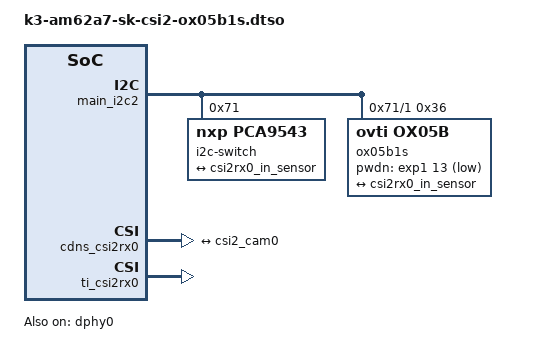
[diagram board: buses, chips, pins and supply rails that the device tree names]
// SPDX-License-Identifier: GPL-2.0
/*
 * OX05B1S Camera Module
 * Copyright (C) 2023-2024 Texas Instruments Incorporated - https://www.ti.com/
 */

/dts-v1/;
/plugin/;

#include <dt-bindings/gpio/gpio.h>

&{/} {
	clk_ox05b1s_fixed: ox05b1s-xclk {
		compatible = "fixed-clock";
		#clock-cells = <0>;
		clock-frequency = <24000000>;
	};
};

&main_i2c2 {
	#address-cells = <1>;
	#size-cells = <0>;
	status = "okay";

	i2c-switch@71 {
		compatible = "nxp,pca9543";
		#address-cells = <1>;
		#size-cells = <0>;
		reg = <0x71>;

		/* CAM port */
		i2c@1 {
			#address-cells = <1>;
			#size-cells = <0>;
			reg = <1>;

			ox05b1s: camera@36 {
				compatible = "ovti,ox05b";
				reg = <0x36>;

				clocks = <&clk_ox05b1s_fixed>;
				clock-names = "inck";

				pwdn-gpios = <&exp1 13 GPIO_ACTIVE_LOW>;

				port {
					csi2_cam0: endpoint {
						remote-endpoint = <&csi2rx0_in_sensor>;
						link-frequencies = /bits/ 64 <480000000>;
						clock-lanes = <0>;
						data-lanes = <1 2 3 4>;
					};
				};
			};
		};
	};
};

&cdns_csi2rx0 {
	ports {
		#address-cells = <1>;
		#size-cells = <0>;

		csi0_port0: port@0 {
			reg = <0>;
			status = "okay";

			csi2rx0_in_sensor: endpoint {
				remote-endpoint = <&csi2_cam0>;
				bus-type = <4>; /* CSI2 DPHY. */
				clock-lanes = <0>;
				data-lanes = <1 2 3 4>;
			};
		};
	};
};

&ti_csi2rx0 {
	status = "okay";
};

&dphy0 {
	status = "okay";
};
